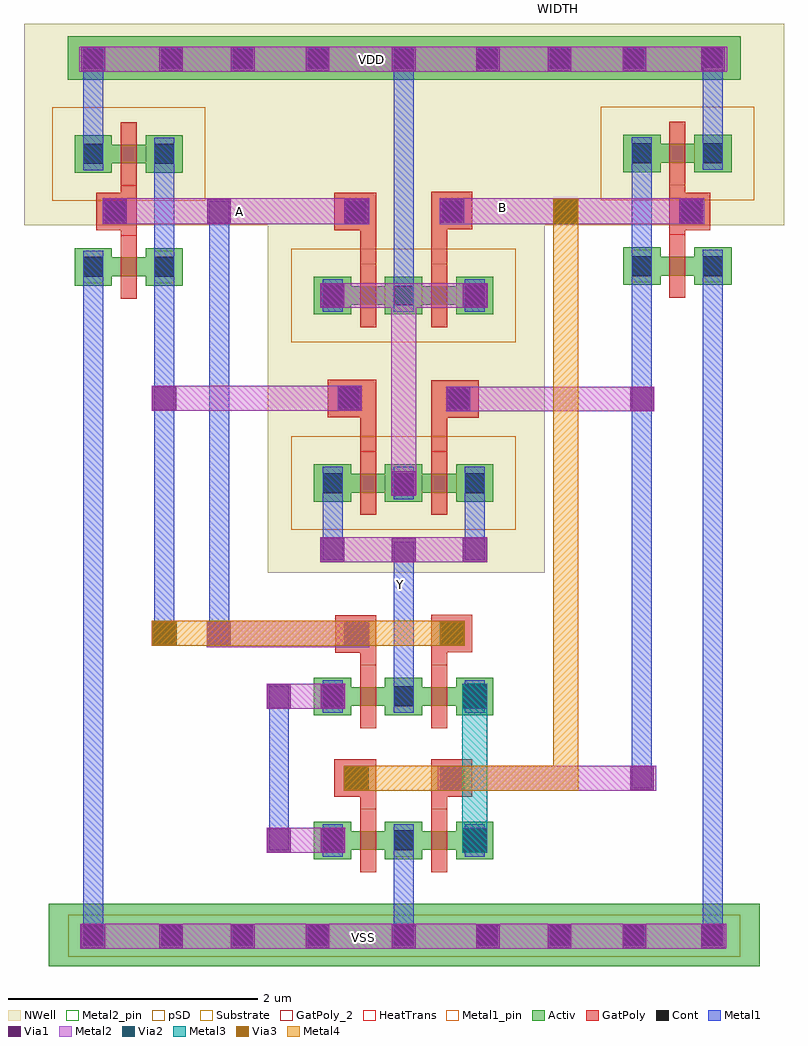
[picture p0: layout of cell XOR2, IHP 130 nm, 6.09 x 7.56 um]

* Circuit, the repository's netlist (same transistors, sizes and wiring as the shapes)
** sch_path: /home/tundzi-lp1710/LAYOUT_ANALOG_FALL_DTVT/Bai_Tap_Buoi_2/XOR_GATE/Layout/XOR2.sch
.subckt XOR2 VDD B A Y VSS
*.PININFO A:I Y:O B:I VDD:B VSS:O
MM1 Y A net2 VSS sg13_lv_nmos w=0.15u l=0.13u ng=1
MM2 net1 A VDD VDD sg13_lv_pmos w=0.15u l=0.13u ng=1
MM3 net1 B VDD VDD sg13_lv_pmos w=0.15u l=0.13u ng=1
MM6 A_dot A VDD VDD sg13_lv_pmos w=0.15u l=0.13u ng=1
MM7 A_dot A VSS VSS sg13_lv_nmos w=0.15u l=0.13u ng=1
MM8 Y A_dot net1 VDD sg13_lv_pmos w=0.15u l=0.13u ng=1
MM9 Y B_dot net1 VDD sg13_lv_pmos w=0.15u l=0.13u ng=1
MM10 net2 B VSS VSS sg13_lv_nmos w=0.15u l=0.13u ng=1
MM11 Y A_dot net3 VSS sg13_lv_nmos w=0.15u l=0.13u ng=1
MM12 net3 B_dot VSS VSS sg13_lv_nmos w=0.15u l=0.13u ng=1
MM13 B_dot B VDD VDD sg13_lv_pmos w=0.15u l=0.13u ng=1
MM14 B_dot B VSS VSS sg13_lv_nmos w=0.15u l=0.13u ng=1
.ends

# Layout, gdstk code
import gdstk
lib = gdstk.Library(unit=1e-6, precision=1e-09)
def R(c, l, rs):  # rectangles x0, y0, x1, y1
    for r in rs: c.add(gdstk.rectangle(r[:2], r[2:], *l))
def A(c, l, x, y, w, h, nx, ny, dx, dy):  # array of equal rectangles
    R(c, l, [(x+i*dx, y+j*dy, x+i*dx+w, y+j*dy+h) for i in range(nx) for j in range(ny)])
Activ = (1, 0)
GatPoly = (5, 0)
GatPoly_2 = (5, 2)
Cont = (6, 0)
Metal1 = (8, 0)
Metal1_pin = (8, 2)
Metal2 = (10, 0)
Metal2_pin = (10, 2)
pSD = (14, 0)
Via1 = (19, 0)
Via2 = (29, 0)
Metal3 = (30, 0)
NWell = (31, 0)
Substrate = (40, 0)
Via3 = (49, 0)
Metal4 = (50, 0)
HeatTrans = (51, 0)

pmos = lib.new_cell('pmos')
R(pmos, Activ, [(0,0,0.3,0.3), (0.57,0,0.87,0.3), (0,0.075,0.87,0.225)])
R(pmos, GatPoly, [(0.37,-0.105,0.5,0.405), (0.37,-0.105,0.5,0.405)])
R(pmos, Cont, [(0.07,0.07,0.23,0.23), (0.64,0.07,0.8,0.23)])
R(pmos, Metal1, [(0.07,0.02,0.23,0.28), (0.07,0.02,0.23,0.28), (0.64,0.02,0.8,0.28), (0.64,0.02,0.8,0.28)])
R(pmos, pSD, [(-0.18,-0.225,1.05,0.525)])
R(pmos, NWell, [(-0.31,-0.31,1.18,0.61)])
R(pmos, Substrate, [(0.57,0,0.87,0.3)])
R(pmos, HeatTrans, [(0.37,-0.105,0.5,0.405)])
pmos.add(gdstk.Label('pmos', (0.435,0.15), layer=63, texttype=0))
pmos.add(gdstk.Label('pmos', (0.435,0.15), layer=51, texttype=0))

nmos = lib.new_cell('nmos')
R(nmos, Activ, [(0,0,0.3,0.3), (0.57,0,0.87,0.3), (0,0.075,0.87,0.225)])
R(nmos, GatPoly, [(0.37,-0.105,0.5,0.405)])
R(nmos, GatPoly_2, [(0.37,-0.105,0.5,0.405)])
R(nmos, Cont, [(0.07,0.07,0.23,0.23), (0.64,0.07,0.8,0.23)])
R(nmos, Metal1, [(0.07,0.02,0.23,0.28), (0.64,0.02,0.8,0.28)])
R(nmos, Metal1_pin, [(0.07,0.02,0.23,0.28), (0.64,0.02,0.8,0.28)])
R(nmos, HeatTrans, [(0.37,-0.105,0.5,0.405)])
nmos.add(gdstk.Label('nmos', (0.435,0.15), layer=63, texttype=0))
nmos.add(gdstk.Label('nmos', (0.435,0.15), layer=51, texttype=0))

pmos_1 = lib.new_cell('pmos$1')
R(pmos_1, Activ, [(0,0,0.3,0.3), (0.57,0,0.87,0.3), (0,0.075,0.87,0.225)])
R(pmos_1, GatPoly, [(0.37,-0.105,0.5,0.405), (0.37,-0.105,0.5,0.405)])
R(pmos_1, Cont, [(0.07,0.07,0.23,0.23), (0.64,0.07,0.8,0.23)])
R(pmos_1, Metal1, [(0.07,0.02,0.23,0.28), (0.07,0.02,0.23,0.28), (0.64,0.02,0.8,0.28), (0.64,0.02,0.8,0.28)])
R(pmos_1, pSD, [(-0.18,-0.225,1.05,0.525)])
R(pmos_1, NWell, [(-0.31,-0.31,1.18,0.61)])
R(pmos_1, Substrate, [(0.57,0,0.87,0.3)])
R(pmos_1, HeatTrans, [(0.37,-0.105,0.5,0.405)])
pmos_1.add(gdstk.Label('pmos', (0.435,0.15), layer=63, texttype=0))
pmos_1.add(gdstk.Label('pmos', (0.435,0.15), layer=51, texttype=0))

xor2 = lib.new_cell('XOR2')
R(xor2, Activ, [(-2.9,-5.06,2.8,-4.56), (-2.75,2.05,2.65,2.4)])
R(xor2, GatPoly, [(-0.405,-4,-0.275,-3.4), (0.165,-4,0.295,-3.4), (-0.61,-3.7,-0.31,-3.4), (0.195,-3.7,0.495,-3.4), (-0.405,-2.845,-0.275,-2.245), (0.165,-2.84,0.295,-2.24), (-0.605,-2.545,-0.305,-2.245), (0.195,-2.54,0.495,-2.24), (0.165,-0.96,0.295,-0.36), (-0.405,-0.955,-0.275,-0.355), (0.245,-0.66,0.545,-0.36), (-0.665,-0.655,-0.365,-0.355), (-0.405,0.545,-0.275,1.145), (0.165,0.55,0.295,1.15), (-2.325,0.795,-2.195,1.21), (2.075,0.8,2.205,1.215), (-2.52,0.845,-2.22,1.145), (-0.61,0.845,-0.31,1.145), (2.105,0.845,2.405,1.145), (0.195,0.85,0.495,1.15)])
R(xor2, Cont, [(-2.625,-4.895,-2.465,-4.735), (-2,-4.895,-1.84,-4.735), (-1.425,-4.895,-1.265,-4.735), (-0.825,-4.895,-0.665,-4.735), (-0.135,-4.895,0.025,-4.735), (0.54,-4.895,0.7,-4.735), (1.115,-4.895,1.275,-4.735), (1.715,-4.895,1.875,-4.735), (2.345,-4.895,2.505,-4.735), (-0.515,-3.63,-0.355,-3.47), (0.255,-3.63,0.415,-3.47), (-0.515,-2.475,-0.355,-2.315), (0.255,-2.47,0.415,-2.31), (0.305,-0.59,0.465,-0.43), (-0.57,-0.585,-0.41,-0.425), (-2.45,0.915,-2.29,1.075), (-0.515,0.915,-0.355,1.075), (2.17,0.915,2.33,1.075), (0.255,0.92,0.415,1.08), (-2.625,2.14,-2.465,2.3), (-2,2.14,-1.84,2.3), (-1.425,2.14,-1.265,2.3), (-0.825,2.14,-0.665,2.3), (-0.135,2.14,0.025,2.3), (0.54,2.14,0.7,2.3), (1.115,2.14,1.275,2.3), (1.715,2.14,1.875,2.3), (2.345,2.145,2.505,2.305)])
R(xor2, Metal1, [(-2.625,-4.895,-2.465,0.63), (-2,-4.895,-1.84,-4.735), (-1.425,-4.895,-1.265,-4.735), (-0.825,-4.895,-0.665,-4.735), (-0.135,-4.895,0.025,-3.97), (0.54,-4.895,0.7,-4.735), (1.115,-4.895,1.275,-4.735), (1.715,-4.895,1.875,-4.735), (2.345,-4.89,2.505,0.635), (-1.135,-4.13,-0.975,-2.815), (-0.515,-3.63,-0.355,-3.47), (0.255,-3.63,0.415,-3.47), (1.775,-3.63,1.935,-0.585), (-0.135,-2.975,0.025,-1.655), (-2.055,-2.475,-1.895,-0.585), (-1.615,-2.475,-1.455,1.075), (-0.515,-2.475,-0.355,-2.315), (0.255,-2.47,0.415,-2.31), (-0.705,-1.8,-0.545,-1.105), (0.435,-1.8,0.595,-1.105), (-2.055,-0.59,-1.895,1.535), (0.305,-0.59,0.465,-0.43), (1.775,-0.59,1.935,1.54), (-0.57,-0.585,-0.41,-0.425), (-0.135,0.24,0.025,2.3), (-2.45,0.915,-2.29,1.075), (-1.615,0.915,-1.455,1.075), (-0.515,0.915,-0.355,1.075), (2.17,0.915,2.33,1.075), (0.255,0.92,0.415,1.08), (-2.625,1.375,-2.465,2.3), (2.345,1.38,2.505,2.305), (-2,2.14,-1.84,2.3), (-1.425,2.14,-1.265,2.3), (-0.825,2.14,-0.665,2.3), (0.54,2.14,0.7,2.3), (1.115,2.14,1.275,2.3), (1.715,2.14,1.875,2.3)])
R(xor2, Metal1_pin, [(-0.135,-2.97,0.025,-1.655)])
R(xor2, Metal2, [(-2.65,-4.92,2.53,-4.72), (-1.155,-4.15,-0.525,-3.95), (0.415,-4.15,0.615,-3.95), (-0.535,-3.65,-0.335,-3.45), (0.22,-3.65,1.97,-3.45), (-1.155,-2.995,-0.525,-2.795), (0.415,-2.995,0.615,-2.795), (-1.635,-2.5,-0.33,-2.29), (-2.075,-2.49,-1.875,-2.29), (0.235,-2.49,0.435,-2.29), (-0.725,-1.82,0.615,-1.62), (-0.155,-1.285,0.045,0.42), (0.285,-0.61,1.955,-0.41), (-2.075,-0.605,-0.39,-0.405), (-0.725,0.22,0.62,0.42), (-2.47,0.89,-0.33,1.1), (0.235,0.89,2.355,1.1), (1.145,0.895,1.345,1.095), (-2.655,2.115,2.54,2.315)])
R(xor2, Metal2_pin, [(-2.65,-4.92,2.53,-4.72), (-2.47,0.89,-0.33,1.1), (0.235,0.89,2.355,1.1), (-2.655,2.115,2.54,2.315)])
R(xor2, pSD, [(-2.745,-4.985,2.645,-4.645)])
A(xor2, Via1, -0.72, -1.815, 0.19, 0.19, 3, 1, 0.57, 0)
R(xor2, Via1, [(-2.64,-4.915,-2.45,-4.725), (-2.64,-4.915,-2.45,-4.725), (-2.015,-4.915,-1.825,-4.725), (-2.015,-4.915,-1.825,-4.725), (-1.44,-4.915,-1.25,-4.725), (-1.44,-4.915,-1.25,-4.725), (-0.84,-4.915,-0.65,-4.725), (-0.84,-4.915,-0.65,-4.725), (-0.15,-4.915,0.04,-4.725), (0.525,-4.915,0.715,-4.725), (0.525,-4.915,0.715,-4.725), (1.1,-4.915,1.29,-4.725), (1.1,-4.915,1.29,-4.725), (1.7,-4.915,1.89,-4.725), (1.7,-4.915,1.89,-4.725), (2.33,-4.915,2.52,-4.725), (-1.15,-4.145,-0.96,-3.955), (-0.72,-4.145,-0.53,-3.955), (0.42,-4.145,0.61,-3.955), (-0.53,-3.645,-0.34,-3.455), (-0.53,-3.645,-0.34,-3.455), (0.24,-3.645,0.43,-3.455), (1.76,-3.645,1.95,-3.455), (-1.15,-2.99,-0.96,-2.8), (-0.72,-2.99,-0.53,-2.8), (0.42,-2.99,0.61,-2.8), (-0.53,-2.49,-0.34,-2.3), (-2.07,-2.485,-1.88,-2.295), (-1.63,-2.485,-1.44,-2.295), (0.24,-2.485,0.43,-2.295), (-0.15,-1.28,0.04,-1.09), (0.29,-0.605,0.48,-0.415), (1.76,-0.605,1.95,-0.415), (-2.07,-0.6,-1.88,-0.41), (-0.585,-0.6,-0.395,-0.41), (-0.72,0.225,-0.53,0.415), (0.42,0.225,0.61,0.415), (-2.465,0.9,-2.275,1.09), (-1.63,0.9,-1.44,1.09), (-0.53,0.9,-0.34,1.09), (1.15,0.9,1.34,1.09), (2.155,0.9,2.345,1.09), (0.24,0.905,0.43,1.095), (-2.64,2.12,-2.45,2.31), (-2.64,2.12,-2.45,2.31), (-2.015,2.12,-1.825,2.31), (-2.015,2.12,-1.825,2.31), (-1.44,2.12,-1.25,2.31), (-1.44,2.12,-1.25,2.31), (-0.84,2.12,-0.65,2.31), (-0.84,2.12,-0.65,2.31), (-0.15,2.12,0.04,2.31), (0.525,2.12,0.715,2.31), (0.525,2.12,0.715,2.31), (1.1,2.12,1.29,2.31), (1.1,2.12,1.29,2.31), (1.7,2.12,1.89,2.31), (1.7,2.12,1.89,2.31), (2.33,2.12,2.52,2.31)])
R(xor2, Via2, [(0.42,-4.145,0.61,-3.955), (-0.53,-3.645,-0.34,-3.455), (0.42,-2.99,0.61,-2.8), (-2.07,-2.485,-1.88,-2.295), (0.24,-2.485,0.43,-2.295), (1.15,0.9,1.34,1.09)])
R(xor2, Metal3, [(0.415,-4.15,0.615,-2.795), (-0.535,-3.65,-0.335,-3.45), (-2.075,-2.49,-1.875,-2.29), (0.235,-2.49,0.435,-2.29), (1.145,0.895,1.345,1.095)])
R(xor2, NWell, [(-1.145,-1.905,1.075,0.9), (-3.1,0.885,2.995,2.5)])
R(xor2, Via3, [(-0.53,-3.645,-0.34,-3.455), (-2.07,-2.485,-1.88,-2.295), (0.24,-2.485,0.43,-2.295), (1.15,0.9,1.34,1.09)])
R(xor2, Metal4, [(-0.535,-3.65,1.345,-3.45), (1.145,-3.65,1.345,1.095), (-2.075,-2.49,0.435,-2.29)])
xor2.add(gdstk.Reference(pmos, (-0.775,0.17)))
xor2.add(gdstk.Reference(pmos, (-0.205,0.17)))
xor2.add(gdstk.Reference(pmos, (-0.205,-1.335)))
xor2.add(gdstk.Reference(pmos, (-2.695,1.305)))
xor2.add(gdstk.Reference(nmos, (-2.695,0.4)))
xor2.add(gdstk.Reference(pmos, (1.705,1.31)))
xor2.add(gdstk.Reference(nmos, (1.705,0.405)))
xor2.add(gdstk.Reference(nmos, (-0.775,-3.045)))
xor2.add(gdstk.Reference(nmos, (-0.205,-3.045)))
xor2.add(gdstk.Reference(nmos, (-0.775,-4.2)))
xor2.add(gdstk.Reference(nmos, (-0.205,-4.2)))
xor2.add(gdstk.Reference(pmos_1, (-0.775,-1.335)))
xor2.add(gdstk.Label('WIDTH', (1.185,2.64), layer=63, texttype=0))
xor2.add(gdstk.Label('HIEGHT', (-4.68,-4.495), layer=63, texttype=0))
xor2.add(gdstk.Label('VDD', (-0.31,2.215), layer=10, texttype=25))
xor2.add(gdstk.Label('A', (-1.37,0.99), layer=10, texttype=25))
xor2.add(gdstk.Label('B', (0.735,1.025), layer=10, texttype=25))
xor2.add(gdstk.Label('VSS', (-0.375,-4.83), layer=10, texttype=25))
xor2.add(gdstk.Label('Y', (-0.08,-1.995), layer=8, texttype=25))

lib.write_gds('XOR2.gds')
